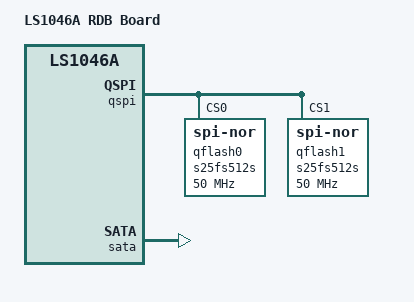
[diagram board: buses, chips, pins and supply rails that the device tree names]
// SPDX-License-Identifier: GPL-2.0+ OR X11
/*
 * Device Tree Include file for Freescale Layerscape-1046A family SoC.
 *
 * Copyright 2016, Freescale Semiconductor
 *
 * Mingkai Hu <Mingkai.hu@freescale.com>
 */

/dts-v1/;
/include/ "fsl-ls1046a.dtsi"

/ {
	model = "LS1046A RDB Board";

	aliases {
		spi0 = &qspi;
	};

};

&qspi {
	bus-num = <0>;
	status = "okay";

	qflash0: s25fs512s@0 {
		#address-cells = <1>;
		#size-cells = <1>;
		compatible = "jedec,spi-nor";
		spi-max-frequency = <50000000>;
		reg = <0>;
	};

	qflash1: s25fs512s@1 {
		#address-cells = <1>;
		#size-cells = <1>;
		compatible = "jedec,spi-nor";
		spi-max-frequency = <50000000>;
		reg = <1>;
	 };
};

&sata {
	status = "okay";
};
